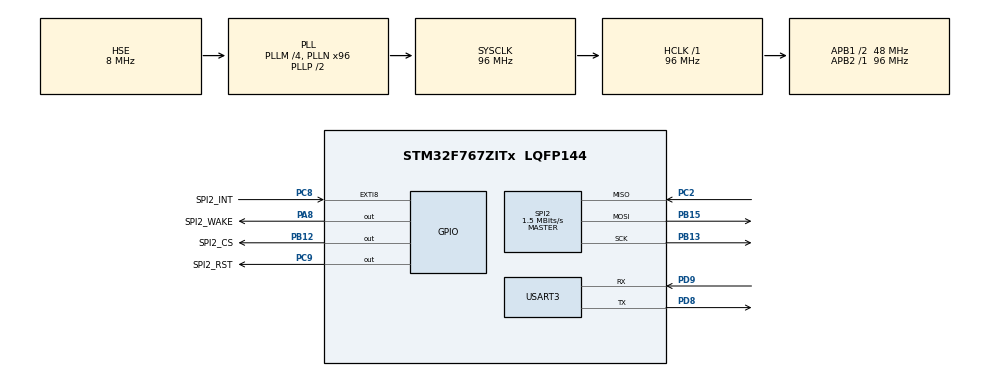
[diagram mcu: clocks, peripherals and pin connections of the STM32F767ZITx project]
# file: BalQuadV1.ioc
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Dma.Request0=USART3_TX
Dma.Request1=SPI2_RX
Dma.Request2=SPI2_TX
Dma.SPI2_RX.1.Direction=DMA_PERIPH_TO_MEMORY
Dma.SPI2_RX.1.FIFOMode=DMA_FIFOMODE_DISABLE
Dma.SPI2_RX.1.Instance=DMA1_Stream1
Dma.SPI2_RX.1.MemDataAlignment=DMA_MDATAALIGN_BYTE
Dma.SPI2_RX.1.MemInc=DMA_MINC_ENABLE
Dma.SPI2_RX.1.Mode=DMA_NORMAL
Dma.SPI2_RX.1.PeriphDataAlignment=DMA_PDATAALIGN_BYTE
Dma.SPI2_RX.1.PeriphInc=DMA_PINC_DISABLE
Dma.SPI2_RX.1.Priority=DMA_PRIORITY_HIGH
Dma.SPI2_TX.2.Direction=DMA_MEMORY_TO_PERIPH
Dma.SPI2_TX.2.FIFOMode=DMA_FIFOMODE_DISABLE
Dma.SPI2_TX.2.Instance=DMA1_Stream4
Dma.SPI2_TX.2.MemDataAlignment=DMA_MDATAALIGN_BYTE
Dma.SPI2_TX.2.MemInc=DMA_MINC_ENABLE
Dma.SPI2_TX.2.Mode=DMA_NORMAL
Dma.SPI2_TX.2.PeriphDataAlignment=DMA_PDATAALIGN_BYTE
Dma.SPI2_TX.2.PeriphInc=DMA_PINC_DISABLE
Dma.SPI2_TX.2.Priority=DMA_PRIORITY_HIGH
Dma.USART3_TX.0.Direction=DMA_MEMORY_TO_PERIPH
Dma.USART3_TX.0.FIFOMode=DMA_FIFOMODE_DISABLE
Dma.USART3_TX.0.Instance=DMA1_Stream3
Dma.USART3_TX.0.MemDataAlignment=DMA_MDATAALIGN_BYTE
Dma.USART3_TX.0.MemInc=DMA_MINC_ENABLE
Dma.USART3_TX.0.Mode=DMA_NORMAL
Dma.USART3_TX.0.PeriphDataAlignment=DMA_PDATAALIGN_BYTE
Dma.USART3_TX.0.PeriphInc=DMA_PINC_DISABLE
Dma.USART3_TX.0.Priority=DMA_PRIORITY_LOW
Mcu.Family=STM32F7
Mcu.Name=STM32F767ZITx
Mcu.Package=LQFP144
NVIC.DMA1_Stream1_IRQn=true\:4\:0\:true\:false\:true\:false\:true\:true
NVIC.DMA1_Stream3_IRQn=true\:6\:0\:true\:false\:true\:false\:true\:true
NVIC.DMA1_Stream4_IRQn=true\:4\:0\:true\:false\:true\:false\:true\:true
NVIC.EXTI9_5_IRQn=true\:2\:0\:true\:false\:true\:true\:true\:true
NVIC.PriorityGroup=NVIC_PRIORITYGROUP_4
NVIC.SPI2_IRQn=true\:3\:0\:true\:false\:true\:true\:true\:true
NVIC.USART3_IRQn=true\:5\:0\:true\:false\:true\:true\:true\:true
PA13.Mode=Serial_Wire
PA13.Signal=SYS_JTMS-SWDIO
PA14.Mode=Serial_Wire
PA14.Signal=SYS_JTCK-SWCLK
PA8.GPIO_Label=SPI2_WAKE
PA8.PinState=GPIO_PIN_SET
PA8.Signal=GPIO_Output
PB12.GPIO_Label=SPI2_CS
PB12.PinState=GPIO_PIN_SET
PB12.Signal=GPIO_Output
PB13.Mode=Full_Duplex_Master
PB13.Signal=SPI2_SCK
PB15.Mode=Full_Duplex_Master
PB15.Signal=SPI2_MOSI
PC2.Mode=Full_Duplex_Master
PC2.Signal=SPI2_MISO
PC8.GPIO_Label=SPI2_INT
PC8.GPIO_ModeDefaultEXTI=GPIO_MODE_IT_FALLING
PC8.Signal=GPXTI8
PC9.GPIO_Label=SPI2_RST
PC9.PinState=GPIO_PIN_SET
PC9.Signal=GPIO_Output
PD8.Mode=Asynchronous
PD8.Signal=USART3_TX
PD9.Mode=Asynchronous
PD9.Signal=USART3_RX
PH0/OSC_IN.Mode=HSE-External-Clock-Source
PH0/OSC_IN.Signal=RCC_OSC_IN
PH1/OSC_OUT.Mode=HSE-External-Clock-Source
PH1/OSC_OUT.Signal=RCC_OSC_OUT
ProjectManager.HeapSize=0x200
ProjectManager.StackSize=0x400
ProjectManager.TargetToolchain=STM32CubeIDE
RCC.48MHZClocksFreq_Value=24000000
RCC.AHBFreq_Value=96000000
RCC.APB1CLKDivider=RCC_HCLK_DIV2
RCC.APB1Freq_Value=48000000
RCC.APB1TimFreq_Value=96000000
RCC.APB2Freq_Value=96000000
RCC.APB2TimFreq_Value=96000000
RCC.CortexFreq_Value=96000000
RCC.HCLKFreq_Value=96000000
RCC.HSE_VALUE=8000000
RCC.HSI_VALUE=16000000
RCC.LSE_VALUE=32768
RCC.PLLM=4
RCC.PLLMUL=RCC_PLL_MUL9
RCC.PLLN=96
RCC.PLLQ=4
RCC.PLLSourceVirtual=RCC_PLLSOURCE_HSE
RCC.PRESCALERUSB=RCC_USBCLKSOURCE_PLL_DIV1_5
RCC.SYSCLKFreq_VALUE=96000000
RCC.SYSCLKSource=RCC_SYSCLKSOURCE_PLLCLK
RCC.SYSCLKSourceVirtual=RCC_SYSCLKSOURCE_PLLCLK
RCC.USBFreq_Value=48000000
RCC.VCOOutputFreq_Value=192000000
SPI2.BaudRatePrescaler=SPI_BAUDRATEPRESCALER_32
SPI2.CLKPhase=SPI_PHASE_2EDGE
SPI2.CLKPolarity=SPI_POLARITY_HIGH
SPI2.CalculateBaudRate=1.5 MBits/s
SPI2.DataSize=SPI_DATASIZE_8BIT
SPI2.Direction=SPI_DIRECTION_2LINES
SPI2.Mode=SPI_MODE_MASTER
SPI2.VirtualType=VM_MASTER
USART3.VirtualMode-Asynchronous=VM_ASYNC
board=NUCLEO-F767ZI

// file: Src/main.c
/* USER CODE BEGIN Header */
/**
  ******************************************************************************
  * @file           : main.c
  * @brief          : Main program body
  ******************************************************************************
  * @attention
  *
  * Copyright (c) 2026 STMicroelectronics.
  * All rights reserved.
  *
  * This software is licensed under terms that can be found in the LICENSE file
  * in the root directory of this software component.
  * If no LICENSE file comes with this software, it is provided AS-IS.
  *
  ******************************************************************************
  */
/* USER CODE END Header */
#include "main.h"
#include "dma.h"
#include "spi.h"
#include "usart.h"
#include "gpio.h"

/* USER CODE BEGIN Includes */
#include "debug_port.h"
#include "bno085.h"
/* USER CODE END Includes */

/* USER CODE BEGIN PV */

BNO085_Quaternion_t quaternion;
BNO085_Euler_t euler;
uint8_t calibration_started = 0U;
/* USER CODE END PV */

void SystemClock_Config(void);

int main(void)
{

  /* MCU Configuration--------------------------------------------------------*/

  /* Reset of all peripherals, Initializes the Flash interface and the Systick. */
  HAL_Init();

  /* Configure the system clock */
  SystemClock_Config();

  /* Initialize all configured peripherals */
  MX_GPIO_Init();
  MX_DMA_Init();
  MX_SPI2_Init();
  MX_USART3_UART_Init();
  /* USER CODE BEGIN 2 */
  BNO085_Status_t bno_status;

  bno_status = BN085_Init();

  if(bno_status != BNO085_STATUS_OK)
  {
	  Error_Handler();
  }

  bno_status = BNO085_EnableRotationVector(BNO085_ROTATION_VECTOR_INTERVAL_US);

  if(bno_status != BNO085_STATUS_OK)
  {
	  Error_Handler();
  }

  /* USER CODE END 2 */

  /* Infinite loop */
  while (1)
  {

    /* USER CODE BEGIN 3 */

	  BNO085_Process();

	  if(calibration_started == 0U)
	  {
		  bno_status = BNO085_StartCalibration();

		  if(bno_status == BNO085_STATUS_OK)
		  {
			  calibration_started = 1U;
		  }else if(bno_status != BNO085_STATUS_BUSY)
		  {
			  Error_Handler();
		  }
	  }

	  if(BNO085_GetQuaternion(&quaternion) == BNO085_STATUS_OK)
	  {
		  BNO085_QuaternionToEuler(&quaternion, &euler);

		  __NOP();
	  }

  }
  /* USER CODE END 3 */
}

void SystemClock_Config(void)
{
  RCC_OscInitTypeDef RCC_OscInitStruct = {0};
  RCC_ClkInitTypeDef RCC_ClkInitStruct = {0};

  /** Configure the main internal regulator output voltage
  */
  __HAL_RCC_PWR_CLK_ENABLE();
  __HAL_PWR_VOLTAGESCALING_CONFIG(PWR_REGULATOR_VOLTAGE_SCALE3);

  /** Initializes the RCC Oscillators according to the specified parameters
  * in the RCC_OscInitTypeDef structure.
  */
  RCC_OscInitStruct.OscillatorType = RCC_OSCILLATORTYPE_HSE;
  RCC_OscInitStruct.HSEState = RCC_HSE_BYPASS;
  RCC_OscInitStruct.PLL.PLLState = RCC_PLL_ON;
  RCC_OscInitStruct.PLL.PLLSource = RCC_PLLSOURCE_HSE;
  RCC_OscInitStruct.PLL.PLLM = 4;
  RCC_OscInitStruct.PLL.PLLN = 96;
  RCC_OscInitStruct.PLL.PLLP = RCC_PLLP_DIV2;
  RCC_OscInitStruct.PLL.PLLQ = 4;
  RCC_OscInitStruct.PLL.PLLR = 2;
  if (HAL_RCC_OscConfig(&RCC_OscInitStruct) != HAL_OK)
  {
    Error_Handler();
  }

  /** Activate the Over-Drive mode
  */
  if (HAL_PWREx_EnableOverDrive() != HAL_OK)
  {
    Error_Handler();
  }

  /** Initializes the CPU, AHB and APB buses clocks
  */
  RCC_ClkInitStruct.ClockType = RCC_CLOCKTYPE_HCLK|RCC_CLOCKTYPE_SYSCLK
                              |RCC_CLOCKTYPE_PCLK1|RCC_CLOCKTYPE_PCLK2;
  RCC_ClkInitStruct.SYSCLKSource = RCC_SYSCLKSOURCE_PLLCLK;
  RCC_ClkInitStruct.AHBCLKDivider = RCC_SYSCLK_DIV1;
  RCC_ClkInitStruct.APB1CLKDivider = RCC_HCLK_DIV2;
  RCC_ClkInitStruct.APB2CLKDivider = RCC_HCLK_DIV1;

  if (HAL_RCC_ClockConfig(&RCC_ClkInitStruct, FLASH_LATENCY_3) != HAL_OK)
  {
    Error_Handler();
  }
}

void Error_Handler(void)
{
  __disable_irq();
  while (1)
  {
  }
}
